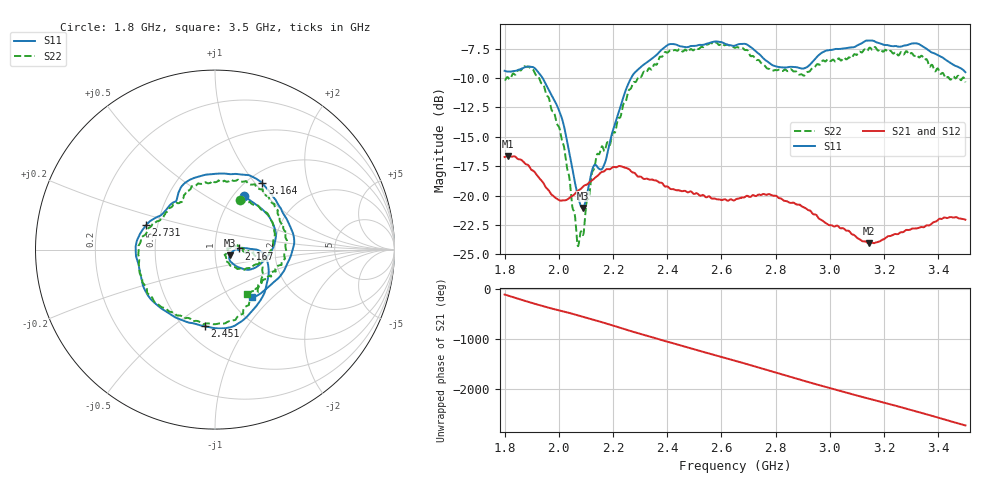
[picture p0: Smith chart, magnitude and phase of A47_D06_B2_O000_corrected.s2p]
! Created with skrf 1.9.0 (http://scikit-rf.org).
# Hz S RI R 50.0
!freq ReS11 ImS11 ReS21 ImS21 ReS12 ImS12 ReS22 ImS22
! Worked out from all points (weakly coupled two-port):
!   1601 points, 1.8 GHz to 3.5 GHz, reference 50 ohm
!   highest |S21| = -16.63 dB at 1.814 GHz (marker M1); lowest = -24.1 dB at 3.144 GHz (marker M2)
!   lowest |S11| = -21.1 dB at 2.088 GHz (marker M3), VSWR 1.19, Z = 58.8 - j3.88 ohm
!   |S11| at or under -10 dB: 1.94 GHz to 2.267 GHz (326.3 MHz wide, 15.5 % of centre)
!   |S22| runs from -24.3 to -7.0 dB; largest |S21 - S12| = 0.0024
!   S11 on the Smith chart (normalised r, x): 1.8 GHz: 1.12, +0.75; 2.167 GHz: 1.31, +0.02; 2.451 GHz: 0.63, -0.66; 2.731 GHz: 0.43, +0.14; 3.164 GHz: 1.17, +1.09; 3.5 GHz: 1.26, -0.75
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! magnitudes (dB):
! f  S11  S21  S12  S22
! 1.8 GHz  -9.4  -16.7  -16.7  -10.2
! 1.814 GHz  -9.5  -16.6  -16.6  -10.0
! 1.883 GHz  -9.0  -17.4  -17.4  -9.0
! 1.943 GHz  -10.1  -19.0  -19.0  -10.6
! 2.011 GHz  -13.4  -20.4  -20.4  -15.3
! 2.068 GHz  -19.8  -19.7  -19.7  -24.0
! 2.084 GHz  -21.0  -19.4  -19.3  -23.1
! 2.088 GHz  -21.1  -19.3  -19.3  -23.3
! 2.13 GHz  -17.4  -18.6  -18.5  -17.7
! 2.167 GHz  -17.4  -18.0  -17.9  -16.2
! 2.262 GHz  -10.2  -17.8  -17.8  -11.0
! 2.367 GHz  -7.9  -18.8  -18.8  -8.5
! 2.451 GHz  -7.3  -19.6  -19.6  -7.6
! 2.65 GHz  -7.2  -20.4  -20.4  -7.4
! 2.731 GHz  -7.8  -20.0  -20.0  -8.5
! 2.81 GHz  -9.1  -20.2  -20.1  -9.3
! 2.934 GHz  -8.7  -21.5  -21.4  -9.2
! 3.144 GHz  -6.8  -24.1  -24.0  -7.5
! 3.164 GHz  -6.9  -24.1  -24.0  -7.4
! 3.217 GHz  -7.2  -23.5  -23.4  -7.8
! 3.326 GHz  -7.1  -22.8  -22.7  -8.2
! 3.5 GHz  -9.5  -22.1  -22.0  -10.4
